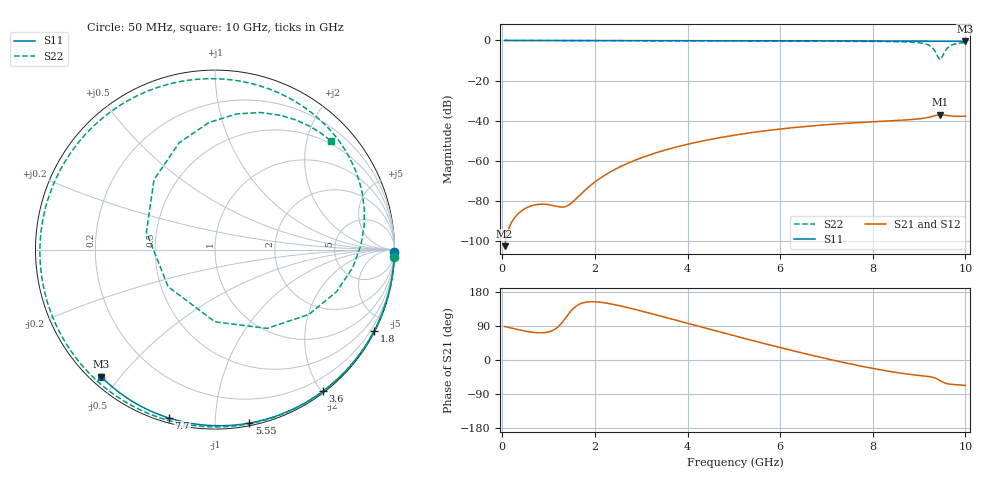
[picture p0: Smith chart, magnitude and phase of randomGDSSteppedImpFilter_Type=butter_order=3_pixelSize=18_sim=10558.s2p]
! freq	dB(S11)	phase(S11)	dB(S12)	phase(S12)
!  dB(S21)	phase(S21)	dB(S22)	phase(S22)
!S-par simulation data
#  GHz  S  DB  R 50
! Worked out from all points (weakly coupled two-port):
!   200 points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, 50 MHz to 10 GHz, reference 50 ohm
!   highest |S21| = -36.93 dB at 9.45 GHz (marker M1); lowest = -102.4 dB at 50 MHz (marker M2)
!   lowest |S11| = -0.4 dB at 10 GHz (marker M3), VSWR 39.26, Z = 1.53 - j22.4 ohm
!   |S11| at or under -10 dB: nowhere
!   |S22| runs from -9.5 to 0.0 dB; largest |S21 - S12| = 0
!   S11 on the Smith chart (normalised r, x): 50 MHz: open; 1.8 GHz: 0.04, -4.17; 3.6 GHz: 0.02, -2.01; 5.55 GHz: 0.02, -1.22; 7.7 GHz: 0.02, -0.76; 10 GHz: 0.03, -0.45
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0.05  -0.00 -0.8  -102.39 88.5  -102.39 88.5  -0.00 -2.3
0.7  -0.01 -10.6  -81.87 72.5  -81.87 72.5  -0.04 -31.8
1.5  -0.03 -22.6  -80.79 131.7  -80.79 131.7  -0.08 -66.0
1.75  -0.03 -26.3  -75.28 151.1  -75.28 151.1  -0.09 -76.1
1.8  -0.03 -27.0  -74.22 152.4  -74.22 152.4  -0.09 -78.0
2.45  -0.05 -36.5  -63.97 145.4  -63.97 145.4  -0.12 -102.4
3.4  -0.07 -50.0  -55.34 116.5  -55.34 116.5  -0.15 -134.6
3.6  -0.07 -52.8  -54.01 109.9  -54.01 109.9  -0.16 -141.0
5.05  -0.11 -72.4  -47.01 62.6  -47.01 62.6  -0.22 175.1
5.55  -0.13 -78.8  -45.35 46.8  -45.35 46.8  -0.25 160.2
6.7  -0.18 -93.3  -42.50 12.0  -42.50 12.0  -0.33 124.3
7.7  -0.24 -105.3  -40.88 -15.0  -40.88 -15.0  -0.43 89.3
8.35  -0.29 -112.9  -40.06 -29.8  -40.06 -29.8  -0.55 62.2
8.85  -0.33 -118.7  -39.33 -38.7  -39.33 -38.7  -0.85 33.7
9.15  -0.36 -122.1  -38.52 -42.6  -38.52 -42.6  -1.80 1.6
9.25  -0.37 -123.3  -38.03 -44.3  -38.03 -44.3  -2.90 -19.1
9.35  -0.38 -124.4  -37.37 -47.7  -37.37 -47.7  -5.57 -56.5
9.45  -0.39 -125.5  -36.93 -54.2  -36.93 -54.2  -9.55 -141.7
9.55  -0.40 -126.7  -37.14 -60.5  -37.14 -60.5  -5.72 131.0
9.65  -0.41 -127.8  -37.53 -63.4  -37.53 -63.4  -2.99 92.7
9.8  -0.42 -129.5  -37.76 -65.2  -37.76 -65.2  -1.59 64.0
10  -0.44 -131.8  -37.66 -67.1  -37.66 -67.1  -1.06 43.0
